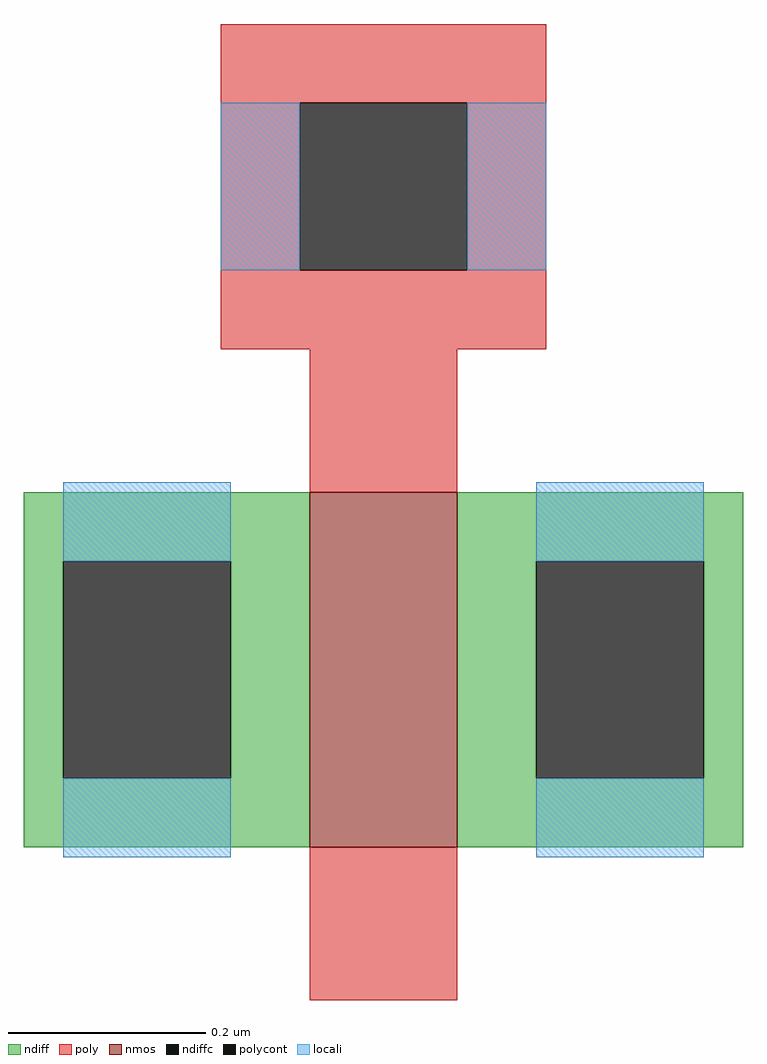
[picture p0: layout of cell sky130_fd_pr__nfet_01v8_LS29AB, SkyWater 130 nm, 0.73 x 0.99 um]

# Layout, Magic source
magic
tech sky130A
magscale 1 2
<< nmos >>
rect -15 -68 15 4
<< ndiff >>
rect -73 -10 -15 4
rect -73 -54 -65 -10
rect -31 -54 -15 -10
rect -73 -68 -15 -54
rect 15 -10 73 4
rect 15 -54 31 -10
rect 65 -54 73 -10
rect 15 -68 73 -54
<< ndiffc >>
rect -65 -54 -31 -10
rect 31 -54 65 -10
<< poly >>
rect -33 83 33 99
rect -33 49 -17 83
rect 17 49 33 83
rect -33 33 33 49
rect -15 4 15 33
rect -15 -99 15 -68
<< polycont >>
rect -17 49 17 83
<< locali >>
rect -33 49 -17 83
rect 17 49 33 83
rect -65 -10 -31 6
rect -65 -70 -31 -54
rect 31 -10 65 6
rect 31 -70 65 -54
<< properties >>
string gencell sky130_fd_pr__nfet_01v8
string parameters w 0.42 l 0.150 m 1 nf 1 diffcov 90 polycov 100 guard 0 glc 0 grc 0 gtc 1 gbc 1 tbcov 100 rlcov 100 topc 1 botc 0 poverlap 0 doverlap 1 lmin 0.15 wmin 0.42 compatible {sky130_fd_pr__nfet_01v8 sky130_fd_pr__nfet_01v8_lvt  sky130_fd_bs_flash__special_sonosfet_star  sky130_fd_pr__nfet_g5v0d10v5 sky130_fd_pr__nfet_05v0_nvt  sky130_fd_pr__nfet_03v3_nvt} full_metal 0 viasrc -40 viadrn 40 viagate 100 viagb 80 viagr 0 viagl 0 viagt 0
string library sky130
<< end >>
